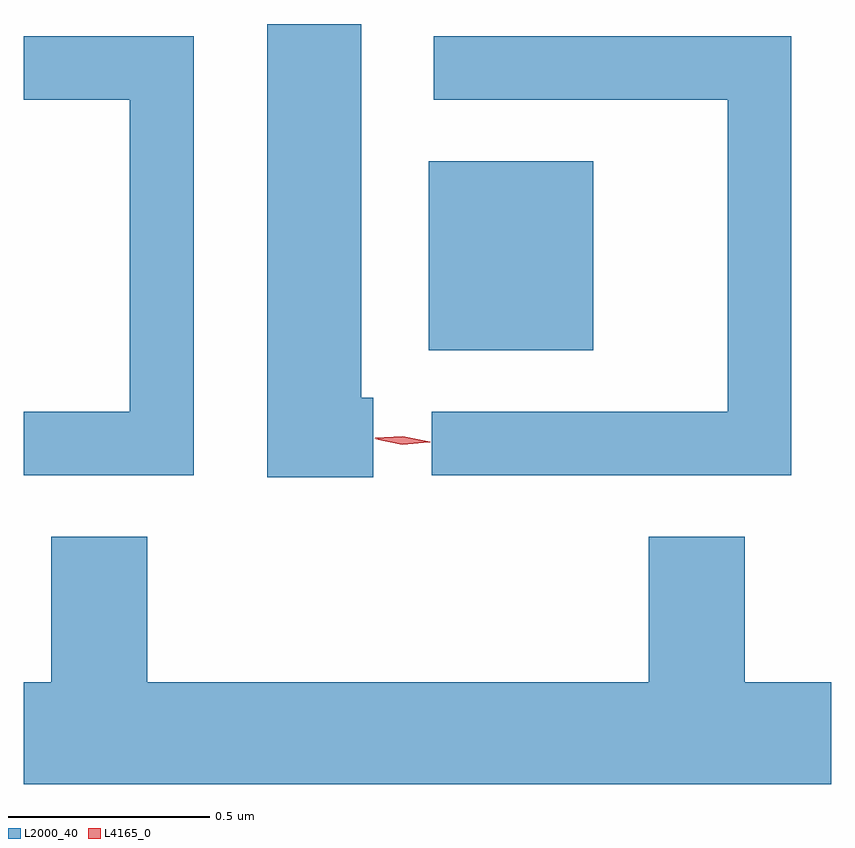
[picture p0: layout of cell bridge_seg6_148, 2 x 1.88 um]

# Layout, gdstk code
import gdstk
lib = gdstk.Library(unit=1e-6, precision=1e-09)
def R(c, l, rs):  # rectangles x0, y0, x1, y1
    for r in rs: c.add(gdstk.rectangle(r[:2], r[2:], *l))
def P(c, l, *ps):  # polygons
    for p in ps: c.add(gdstk.Polygon(p, *l))
L2000_40 = (2000, 40)
L4165_0 = (4165, 0)

bridge_seg6_148 = lib.new_cell('bridge_seg6_148')
R(bridge_seg6_148, L2000_40, [(1026.701,1662.126,1027.109,1662.594)])
P(bridge_seg6_148, L2000_40, [(1026.564,1662.009),(1026.534,1662.009),(1026.534,1662.934),(1026.301,1662.934),(1026.301,1661.811),(1026.564,1661.811)],
  [(1026.119,1662.904),(1025.698,1662.904),(1025.698,1662.746),(1025.961,1662.746),(1025.961,1661.974),(1025.698,1661.974),(1025.698,1661.816),(1026.119,1661.816)],
  [(1027.599,1662.904),(1026.713,1662.904),(1026.713,1662.746),(1027.441,1662.746),(1027.441,1661.974),(1026.708,1661.974),(1026.708,1661.816),(1027.599,1661.816)],
  [(1027.698,1661.304),(1027.484,1661.304),(1027.484,1661.664),(1027.246,1661.664),(1027.246,1661.304),(1026.004,1661.304),(1026.004,1661.664),(1025.766,1661.664),(1025.766,1661.304),(1025.698,1661.304),(1025.698,1661.052),(1027.698,1661.052)])
P(bridge_seg6_148, L4165_0, [(1026.636,1661.894),(1026.568,1661.908),(1026.567,1661.908),(1026.568,1661.909),(1026.637,1661.913),(1026.705,1661.899),(1026.705,1661.898),(1026.705,1661.898)],
  [(1026.636,1661.892),(1026.57,1661.906),(1026.57,1661.906),(1026.57,1661.906),(1026.636,1661.912),(1026.702,1661.899),(1026.702,1661.898),(1026.702,1661.898)])

lib.write_gds('bridge_seg6_148.gds')
